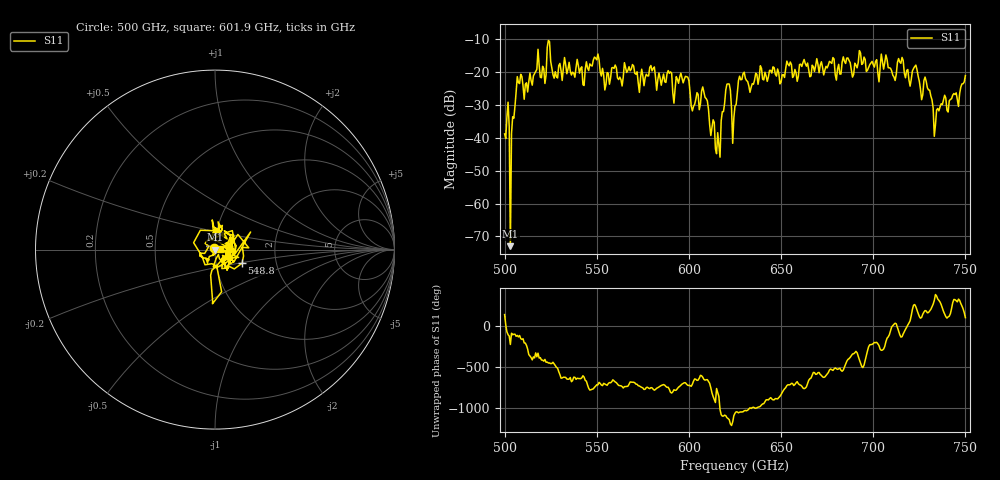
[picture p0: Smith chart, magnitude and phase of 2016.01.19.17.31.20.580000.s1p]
!Created with skrf (http://scikit-rf.org).
# GHz S RI R 50.0
!freq ReS11 ImS11
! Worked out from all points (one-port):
!   401 points, 500 GHz to 750 GHz, reference 50 ohm
!   lowest |S11| = -73.0 dB at 503.1 GHz (marker M1), VSWR 1.00, Z = 50 + j0.0168 ohm
!   |S11| at or under -10 dB: start of sweep to end of sweep
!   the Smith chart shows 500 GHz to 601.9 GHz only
!   S11 on the Smith chart (normalised r, x): 500 GHz: 0.98, +0.02; 548.8 GHz: 1.34, -0.21; 601.9 GHz: 1.05, +0.01
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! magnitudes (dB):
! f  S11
! 500 GHz  -38.8
! 501.2 GHz  -33.7
! 503.1 GHz  -73.0
! 504.4 GHz  -33.6
! 505.6 GHz  -30.4
! 508.1 GHz  -23.5
! 521.2 GHz  -19.0
! 524.4 GHz  -10.8
! 527.5 GHz  -19.9
! 531.2 GHz  -22.6
! 548.8 GHz  -15.5
! 562.5 GHz  -21.6
! 593.8 GHz  -22.2
! 598.8 GHz  -21.4
! 601.9 GHz  -31.8
! 608.1 GHz  -26.1
! 615.6 GHz  -38.4
! 621.2 GHz  -23.6
! 625 GHz  -30.3
! 628.8 GHz  -22.3
! 656.2 GHz  -21.6
! 687.5 GHz  -17.1
! 711.2 GHz  -21.5
! 715 GHz  -17.3
! 718.8 GHz  -19.2
! 728.8 GHz  -22.9
! 734.4 GHz  -31.5
! 750 GHz  -21.1
